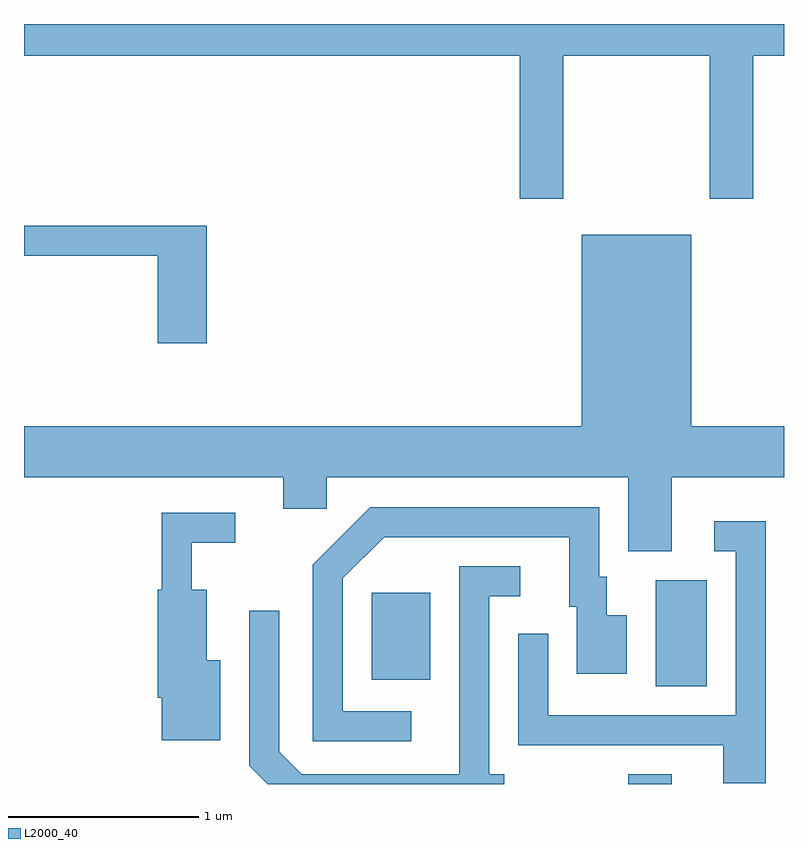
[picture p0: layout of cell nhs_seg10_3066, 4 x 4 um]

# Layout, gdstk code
import gdstk
lib = gdstk.Library(unit=1e-6, precision=1e-09)
def R(c, l, rs):  # rectangles x0, y0, x1, y1
    for r in rs: c.add(gdstk.rectangle(r[:2], r[2:], *l))
def P(c, l, *ps):  # polygons
    for p in ps: c.add(gdstk.Polygon(p, *l))
L2000_40 = (2000, 40)

nhs_seg10_3066 = lib.new_cell('nhs_seg10_3066')
R(nhs_seg10_3066, L2000_40, [(278.791,2114.522,279.019,2114.574), (278.936,2115.036,279.204,2115.594), (277.441,2115.071,277.749,2115.529)])
P(nhs_seg10_3066, L2000_40, [(278.449,2118.356),(279.221,2118.356),(279.221,2117.601),(279.449,2117.601),(279.449,2118.356),(279.611,2118.356),(279.611,2118.522),(275.611,2118.522),(275.611,2118.356),(278.221,2118.356),(278.221,2117.601),(278.449,2117.601)],
  [(276.574,2117.459),(275.611,2117.459),(275.611,2117.301),(276.316,2117.301),(276.316,2116.841),(276.574,2116.841)],
  [(279.019,2116.136),(279.611,2116.136),(279.611,2116.404),(279.124,2116.404),(279.124,2117.414),(278.546,2117.414),(278.546,2116.404),(275.611,2116.404),(275.611,2116.136),(276.976,2116.136),(276.976,2115.971),(277.204,2115.971),(277.204,2116.136),(278.791,2116.136),(278.791,2115.746),(279.019,2115.746)],
  [(277.648,2114.904),(277.289,2114.904),(277.289,2115.604),(277.507,2115.821),(278.481,2115.821),(278.481,2115.456),(278.521,2115.456),(278.521,2115.101),(278.784,2115.101),(278.784,2115.409),(278.679,2115.409),(278.679,2115.614),(278.639,2115.614),(278.639,2115.979),(277.434,2115.979),(277.131,2115.677),(277.131,2114.746),(277.648,2114.746)],
  [(276.644,2115.174),(276.574,2115.174),(276.574,2115.544),(276.494,2115.544),(276.494,2115.791),(276.723,2115.791),(276.723,2115.949),(276.336,2115.949),(276.336,2115.544),(276.316,2115.544),(276.316,2114.976),(276.336,2114.976),(276.336,2114.751),(276.644,2114.751)],
  [(279.514,2115.904),(279.243,2115.904),(279.243,2115.746),(279.356,2115.746),(279.356,2114.884),(278.369,2114.884),(278.369,2115.313),(278.211,2115.313),(278.211,2114.726),(279.291,2114.726),(279.291,2114.526),(279.514,2114.526)],
  [(278.138,2114.574),(278.059,2114.574),(278.059,2115.511),(278.223,2115.511),(278.223,2115.669),(277.901,2115.669),(277.901,2114.574),(277.072,2114.574),(276.954,2114.692),(276.954,2115.433),(276.796,2115.433),(276.796,2114.619),(276.893,2114.522),(278.138,2114.522)])

lib.write_gds('nhs_seg10_3066.gds')
